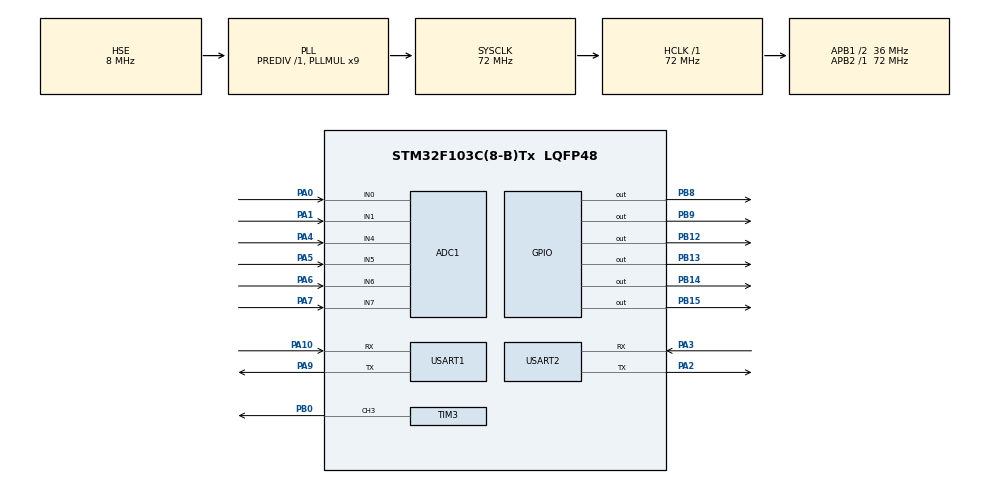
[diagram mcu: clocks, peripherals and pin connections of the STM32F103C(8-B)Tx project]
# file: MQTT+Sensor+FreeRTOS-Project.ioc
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ADC1.Channel-10\#ChannelRegularConversion=ADC_CHANNEL_0
ADC1.Channel-11\#ChannelRegularConversion=ADC_CHANNEL_0
ADC1.Channel-6\#ChannelRegularConversion=ADC_CHANNEL_0
ADC1.Channel-7\#ChannelRegularConversion=ADC_CHANNEL_0
ADC1.Channel-8\#ChannelRegularConversion=ADC_CHANNEL_0
ADC1.Channel-9\#ChannelRegularConversion=ADC_CHANNEL_0
ADC1.ContinuousConvMode=ENABLE
ADC1.EnableRegularConversion=ENABLE
ADC1.NbrOfConversion=6
ADC1.NbrOfConversionFlag=1
ADC1.Rank-10\#ChannelRegularConversion=5
ADC1.Rank-11\#ChannelRegularConversion=6
ADC1.Rank-6\#ChannelRegularConversion=1
ADC1.Rank-7\#ChannelRegularConversion=2
ADC1.Rank-8\#ChannelRegularConversion=3
ADC1.Rank-9\#ChannelRegularConversion=4
ADC1.SamplingTime-10\#ChannelRegularConversion=ADC_SAMPLETIME_55CYCLES_5
ADC1.SamplingTime-11\#ChannelRegularConversion=ADC_SAMPLETIME_55CYCLES_5
ADC1.SamplingTime-6\#ChannelRegularConversion=ADC_SAMPLETIME_55CYCLES_5
ADC1.SamplingTime-7\#ChannelRegularConversion=ADC_SAMPLETIME_55CYCLES_5
ADC1.SamplingTime-8\#ChannelRegularConversion=ADC_SAMPLETIME_55CYCLES_5
ADC1.SamplingTime-9\#ChannelRegularConversion=ADC_SAMPLETIME_55CYCLES_5
ADC1.master=1
Dma.ADC1.0.Direction=DMA_PERIPH_TO_MEMORY
Dma.ADC1.0.Instance=DMA1_Channel1
Dma.ADC1.0.MemDataAlignment=DMA_MDATAALIGN_HALFWORD
Dma.ADC1.0.MemInc=DMA_MINC_ENABLE
Dma.ADC1.0.Mode=DMA_CIRCULAR
Dma.ADC1.0.PeriphDataAlignment=DMA_PDATAALIGN_HALFWORD
Dma.ADC1.0.PeriphInc=DMA_PINC_DISABLE
Dma.ADC1.0.Priority=DMA_PRIORITY_LOW
Dma.Request0=ADC1
FREERTOS.Tasks01=defaultTask,24,188,StartDefaultTask,Default,NULL,Dynamic,NULL,NULL
FREERTOS.configMINIMAL_STACK_SIZE=188
FREERTOS.configUSE_IDLE_HOOK=1
FREERTOS.configUSE_STATS_FORMATTING_FUNCTIONS=1
Mcu.Family=STM32F1
Mcu.Name=STM32F103C(8-B)Tx
Mcu.Package=LQFP48
NVIC.ADC1_2_IRQn=true\:5\:0\:false\:false\:true\:true\:true\:true\:true
NVIC.DMA1_Channel1_IRQn=true\:5\:0\:false\:false\:true\:true\:false\:true\:true
NVIC.PriorityGroup=NVIC_PRIORITYGROUP_4
NVIC.TIM4_IRQn=true\:15\:0\:false\:false\:true\:false\:false\:true\:true
NVIC.TimeBase=TIM4_IRQn
NVIC.TimeBaseIP=TIM4
NVIC.USART1_IRQn=true\:5\:0\:false\:false\:true\:true\:true\:true\:true
NVIC.USART2_IRQn=true\:5\:0\:false\:false\:true\:true\:true\:true\:true
PA0-WKUP.Signal=ADCx_IN0
PA1.Signal=ADCx_IN1
PA10.Mode=Asynchronous
PA10.Signal=USART1_RX
PA13.Mode=Serial_Wire
PA13.Signal=SYS_JTMS-SWDIO
PA14.Mode=Serial_Wire
PA14.Signal=SYS_JTCK-SWCLK
PA2.Mode=Asynchronous
PA2.Signal=USART2_TX
PA3.Mode=Asynchronous
PA3.Signal=USART2_RX
PA4.Signal=ADCx_IN4
PA5.Signal=ADCx_IN5
PA6.Signal=ADCx_IN6
PA7.Signal=ADCx_IN7
PA9.Mode=Asynchronous
PA9.Signal=USART1_TX
PB0.Signal=S_TIM3_CH3
PB12.GPIO_Speed=GPIO_SPEED_FREQ_HIGH
PB12.Signal=GPIO_Output
PB13.GPIO_Speed=GPIO_SPEED_FREQ_HIGH
PB13.Signal=GPIO_Output
PB14.GPIO_Speed=GPIO_SPEED_FREQ_HIGH
PB14.Signal=GPIO_Output
PB15.GPIO_Speed=GPIO_SPEED_FREQ_HIGH
PB15.Signal=GPIO_Output
PB8.GPIO_Speed=GPIO_SPEED_FREQ_HIGH
PB8.Signal=GPIO_Output
PB9.GPIO_Speed=GPIO_SPEED_FREQ_HIGH
PB9.Signal=GPIO_Output
PC14-OSC32_IN.Mode=LSE-External-Oscillator
PC14-OSC32_IN.Signal=RCC_OSC32_IN
PC15-OSC32_OUT.Mode=LSE-External-Oscillator
PC15-OSC32_OUT.Signal=RCC_OSC32_OUT
PD0-OSC_IN.Mode=HSE-External-Oscillator
PD0-OSC_IN.Signal=RCC_OSC_IN
PD1-OSC_OUT.Mode=HSE-External-Oscillator
PD1-OSC_OUT.Signal=RCC_OSC_OUT
ProjectManager.HeapSize=0x200
ProjectManager.StackSize=0x400
ProjectManager.TargetToolchain=MDK-ARM V5.32
RCC.ADCPresc=RCC_ADCPCLK2_DIV6
RCC.AHBFreq_Value=72000000
RCC.APB1CLKDivider=RCC_HCLK_DIV2
RCC.APB1Freq_Value=36000000
RCC.APB1TimFreq_Value=72000000
RCC.APB2Freq_Value=72000000
RCC.APB2TimFreq_Value=72000000
RCC.HCLKFreq_Value=72000000
RCC.PLLMUL=RCC_PLL_MUL9
RCC.PLLSourceVirtual=RCC_PLLSOURCE_HSE
RCC.SYSCLKFreq_VALUE=72000000
RCC.SYSCLKSource=RCC_SYSCLKSOURCE_PLLCLK
RCC.USBFreq_Value=72000000
SH.ADCx_IN0.0=ADC1_IN0,IN0
SH.ADCx_IN1.0=ADC1_IN1,IN1
SH.ADCx_IN4.0=ADC1_IN4,IN4
SH.ADCx_IN5.0=ADC1_IN5,IN5
SH.ADCx_IN6.0=ADC1_IN6,IN6
SH.ADCx_IN7.0=ADC1_IN7,IN7
SH.S_TIM3_CH3.0=TIM3_CH3,PWM Generation3 CH3
TIM3.AutoReloadPreload=TIM_AUTORELOAD_PRELOAD_ENABLE
TIM3.Channel-PWM\ Generation3\ CH3=TIM_CHANNEL_3
TIM3.Period=100-1
TIM3.Prescaler=72-1
USART1.VirtualMode=VM_ASYNC
USART2.VirtualMode=VM_ASYNC
VP_FREERTOS_VS_CMSIS_V2.Mode=CMSIS_V2
VP_SYS_VS_tim4.Mode=TIM4
board=custom

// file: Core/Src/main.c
/* USER CODE BEGIN Header */
/**
  ******************************************************************************
  * @file           : main.c
  * @brief          : Main program body
  ******************************************************************************
  * @attention
  *
  * Copyright (c) 2026 STMicroelectronics.
  * All rights reserved.
  *
  * This software is licensed under terms that can be found in the LICENSE file
  * in the root directory of this software component.
  * If no LICENSE file comes with this software, it is provided AS-IS.
  *
  ******************************************************************************
  */
/* USER CODE END Header */
#include "main.h"
#include "cmsis_os.h"
#include "adc.h"
#include "dma.h"
#include "tim.h"
#include "usart.h"
#include "gpio.h"

/* USER CODE BEGIN Includes */
#include "OLED.h"
/* USER CODE END Includes */

void SystemClock_Config(void);
void MX_FREERTOS_Init(void);

int main(void)
{

  /* MCU Configuration--------------------------------------------------------*/

  /* Reset of all peripherals, Initializes the Flash interface and the Systick. */
  HAL_Init();

  /* Configure the system clock */
  SystemClock_Config();

  /* Initialize all configured peripherals */
  MX_GPIO_Init();
  MX_DMA_Init();
  MX_USART1_UART_Init();
  MX_USART2_UART_Init();
  MX_TIM3_Init();
  MX_ADC1_Init();
  /* USER CODE BEGIN 2 */
  OLED_Init();

//  		OLED_ShowString(1,1,"Hello");

   //DHT11_GPIO_Config();
  /* USER CODE END 2 */

  /* Init scheduler */
  osKernelInitialize();  /* Call init function for freertos objects (in cmsis_os2.c) */
  MX_FREERTOS_Init();

  /* Start scheduler */
  osKernelStart();

  /* We should never get here as control is now taken by the scheduler */

  /* Infinite loop */
  while (1)
  {

  }
}

void SystemClock_Config(void)
{
  RCC_OscInitTypeDef RCC_OscInitStruct = {0};
  RCC_ClkInitTypeDef RCC_ClkInitStruct = {0};
  RCC_PeriphCLKInitTypeDef PeriphClkInit = {0};

  /** Initializes the RCC Oscillators according to the specified parameters
  * in the RCC_OscInitTypeDef structure.
  */
  RCC_OscInitStruct.OscillatorType = RCC_OSCILLATORTYPE_HSE;
  RCC_OscInitStruct.HSEState = RCC_HSE_ON;
  RCC_OscInitStruct.HSEPredivValue = RCC_HSE_PREDIV_DIV1;
  RCC_OscInitStruct.HSIState = RCC_HSI_ON;
  RCC_OscInitStruct.PLL.PLLState = RCC_PLL_ON;
  RCC_OscInitStruct.PLL.PLLSource = RCC_PLLSOURCE_HSE;
  RCC_OscInitStruct.PLL.PLLMUL = RCC_PLL_MUL9;
  if (HAL_RCC_OscConfig(&RCC_OscInitStruct) != HAL_OK)
  {
    Error_Handler();
  }

  /** Initializes the CPU, AHB and APB buses clocks
  */
  RCC_ClkInitStruct.ClockType = RCC_CLOCKTYPE_HCLK|RCC_CLOCKTYPE_SYSCLK
                              |RCC_CLOCKTYPE_PCLK1|RCC_CLOCKTYPE_PCLK2;
  RCC_ClkInitStruct.SYSCLKSource = RCC_SYSCLKSOURCE_PLLCLK;
  RCC_ClkInitStruct.AHBCLKDivider = RCC_SYSCLK_DIV1;
  RCC_ClkInitStruct.APB1CLKDivider = RCC_HCLK_DIV2;
  RCC_ClkInitStruct.APB2CLKDivider = RCC_HCLK_DIV1;

  if (HAL_RCC_ClockConfig(&RCC_ClkInitStruct, FLASH_LATENCY_2) != HAL_OK)
  {
    Error_Handler();
  }
  PeriphClkInit.PeriphClockSelection = RCC_PERIPHCLK_ADC;
  PeriphClkInit.AdcClockSelection = RCC_ADCPCLK2_DIV6;
  if (HAL_RCCEx_PeriphCLKConfig(&PeriphClkInit) != HAL_OK)
  {
    Error_Handler();
  }
}

void HAL_TIM_PeriodElapsedCallback(TIM_HandleTypeDef *htim)
{
  if (htim->Instance == TIM4)
  {
    HAL_IncTick();
  }
}

void Error_Handler(void)
{
  __disable_irq();
  while (1)
  {
  }
}

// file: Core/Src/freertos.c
/* USER CODE BEGIN Header */
/**
  ******************************************************************************
  * File Name          : freertos.c
  * Description        : Code for freertos applications
  ******************************************************************************
  * @attention
  *
  * Copyright (c) 2026 STMicroelectronics.
  * All rights reserved.
  *
  * This software is licensed under terms that can be found in the LICENSE file
  * in the root directory of this software component.
  * If no LICENSE file comes with this software, it is provided AS-IS.
  *
  ******************************************************************************
  */
/* USER CODE END Header */

#include "FreeRTOS.h"
#include "task.h"
#include "main.h"
#include "cmsis_os.h"

/* USER CODE BEGIN Includes */
#include "UART_Task.h"
#include "MY_PWM.h"
#include "LightSensor.h"
#include "Get_Time.h"
/* USER CODE END Includes */

/* USER CODE BEGIN PD */

/* 创建串口任务栈大小 用于静态创建任务 */
static StackType_t  g_pucStackofUARTTask[128];
/* 创建红外传感器任务栈大小 用于静态创建任务 */
static StackType_t  g_pucStackofLightSensorTask[128];

/* 创建串口任务的TCB结构体 用于静态创建任务 */
static StaticTask_t g_TCBofLightSensorTask;
/* 创建串口任务的TCB结构体 用于静态创建任务 */
static StaticTask_t g_TCBofUARTTask;

/* USER CODE END PD */

/* USER CODE BEGIN Variables */

/* 创建串口任务句柄 */
static TaskHandle_t UARTTaskHandle;

/* 创建红外传感器任务句柄 */
static TaskHandle_t LightSensorHandle;

/* USER CODE END Variables */
/* Definitions for defaultTask */
osThreadId_t defaultTaskHandle;
const osThreadAttr_t defaultTask_attributes = {
  .name = "defaultTask",
  .stack_size = 188 * 4,
  .priority = (osPriority_t) osPriorityNormal,
};

void StartDefaultTask(void *argument);

void MX_FREERTOS_Init(void); /* (MISRA C 2004 rule 8.1) */

/* Hook prototypes */
void vApplicationIdleHook(void);

/* USER CODE BEGIN 2 */
void vApplicationIdleHook( void )
{

   /* vApplicationIdleHook() will only be called if configUSE_IDLE_HOOK is set
   to 1 in FreeRTOSConfig.h. It will be called on each iteration of the idle
   task. It is essential that code added to this hook function never attempts
   to block in any way (for example, call xQueueReceive() with a block time
   specified, or call vTaskDelay()). If the application makes use of the
   vTaskDelete() API function (as this demo application does) then it is also
   important that vApplicationIdleHook() is permitted to return to its calling
   function, because it is the responsibility of the idle task to clean up
   memory allocated by the kernel to any task that has since been deleted. */
	//vTaskList(pcWriteBuffer);
	//printf("%s\r\n",pcWriteBuffer);
}
/* USER CODE END 2 */

void MX_FREERTOS_Init(void) {

  /* Create the thread(s) */
  /* creation of defaultTask */
  defaultTaskHandle = osThreadNew(StartDefaultTask, NULL, &defaultTask_attributes);

  /* USER CODE BEGIN RTOS_THREADS */

  /* add threads, ... */
  /* 创建串口打印任务 */
  UARTTaskHandle=xTaskCreateStatic(UART_Task,"PrintTask",128,NULL,osPriorityNormal,g_pucStackofUARTTask,&g_TCBofUARTTask);
  /* 创建红外传感器数据任务 */
  LightSensorHandle=xTaskCreateStatic(LightSensor_Task,"LightSensor_Task",128,NULL,osPriorityNormal,g_pucStackofLightSensorTask,&g_TCBofLightSensorTask);
  /* 创建定时器任务,通过提高优先级来使时间戳++ */
   xTaskCreate( RTime_MakeUnixUP, "GetRTime++",128,NULL,osPriorityNormal+5, NULL ); // 任务句柄, 以后使用它来操作这个任务
  /* USER CODE END RTOS_THREADS */

}

void StartDefaultTask(void *argument)
{
  for(;;)
  {
    osDelay(1);
  }
}
